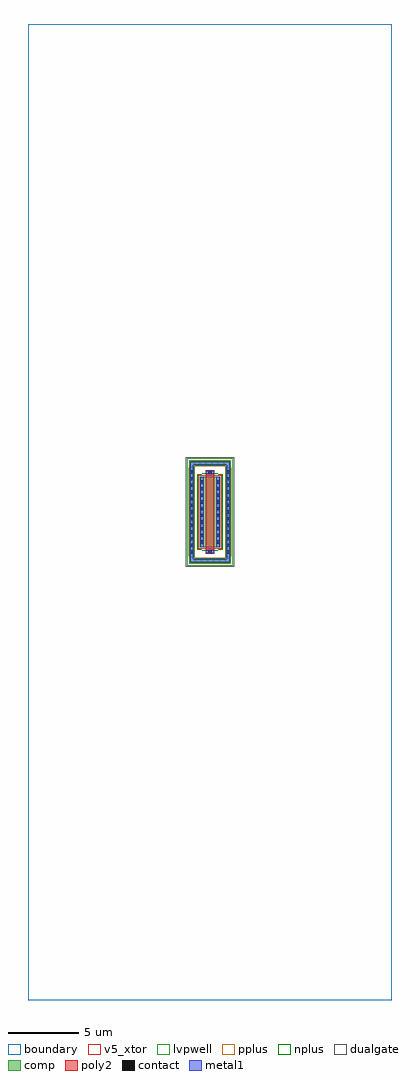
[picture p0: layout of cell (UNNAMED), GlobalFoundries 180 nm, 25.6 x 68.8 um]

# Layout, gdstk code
import gdstk
lib = gdstk.Library(unit=1e-6, precision=1e-09)
def R(c, l, rs):  # rectangles x0, y0, x1, y1
    for r in rs: c.add(gdstk.rectangle(r[:2], r[2:], *l))
def A(c, l, x, y, w, h, nx, ny, dx, dy):  # array of equal rectangles
    R(c, l, [(x+i*dx, y+j*dy, x+i*dx+w, y+j*dy+h) for i in range(nx) for j in range(ny)])
boundary = (0, 0)
comp = (22, 0)
poly2 = (30, 0)
pplus = (31, 0)
nplus = (32, 0)
contact = (33, 0)
metal1 = (34, 0)
dualgate = (55, 0)
v5_xtor = (112, 1)
lvpwell = (204, 0)

c__unnamed_ = lib.new_cell('(UNNAMED)')
R(c__unnamed_, boundary, [(-12.8,-34.4,12.8,34.4)])
R(c__unnamed_, comp, [(-1.46,-3.62,1.46,-3.26), (-1.46,-3.26,-1.1,3.26), (1.1,-3.26,1.46,3.26), (-0.74,-2.5,0.74,2.5), (-1.46,3.26,1.46,3.62)])
R(c__unnamed_, poly2, [(-0.3,-2.96,0.3,2.96)])
R(c__unnamed_, pplus, [(-1.48,-3.64,1.48,-3.24), (-1.48,-3.24,-1.07,-3.135), (1.07,-3.24,1.48,-3.135), (-1.49,-3.135,-1.07,3.135), (1.07,-3.135,1.49,3.135), (-1.48,3.135,-1.07,3.24), (1.07,3.135,1.48,3.24), (-1.48,3.24,1.48,3.64)])
R(c__unnamed_, nplus, [(-0.53,-2.73,0.53,-2.66), (-0.9,-2.66,0.9,2.66), (-0.53,2.66,0.53,2.73)])
A(c__unnamed_, contact, -1.39, -2.93, 0.22, 0.22, 1, 13, 0, 0.47)
A(c__unnamed_, contact, 1.17, -2.93, 0.22, 0.22, 1, 13, 0, 0.47)
A(c__unnamed_, contact, -0.67, -2.225, 0.22, 0.22, 1, 10, 0, 0.47)
A(c__unnamed_, contact, 0.45, -2.225, 0.22, 0.22, 1, 10, 0, 0.47)
R(c__unnamed_, contact, [(-0.11,-2.89,0.11,-2.67), (-0.11,2.67,0.11,2.89)])
R(c__unnamed_, metal1, [(-1.395,-3.555,1.395,-3.325), (-1.395,-3.325,-1.165,3.325), (1.165,-3.325,1.395,3.325), (-0.29,-2.895,0.29,-2.665), (-0.675,-2.49,-0.445,2.49), (0.445,-2.49,0.675,2.49), (-0.29,2.665,0.29,2.895), (-1.395,3.325,1.395,3.555)])
R(c__unnamed_, dualgate, [(-1.7,-3.86,1.7,3.86)])
R(c__unnamed_, v5_xtor, [(-0.84,-2.6,0.84,2.6)])
R(c__unnamed_, lvpwell, [(-1.62,-3.78,1.62,3.78)])

lib.write_gds('_UNNAMED_.gds')
